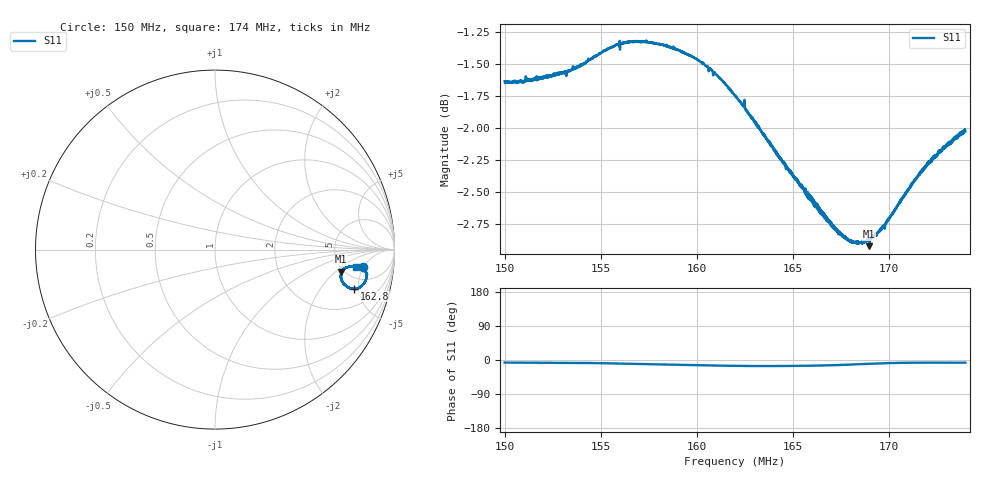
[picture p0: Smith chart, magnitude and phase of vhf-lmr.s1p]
! Calibrated averaged scanner-service zoom
# Hz S RI R 50
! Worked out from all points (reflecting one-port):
!   2001 points, 150 MHz to 174 MHz, reference 50 ohm
!   lowest |S11| = -2.9 dB at 169 MHz (marker M1), VSWR 5.99, Z = 238 - j119 ohm
!   phase of S11 starts at -7 deg and turns -0 deg over the sweep
!   S11 on the Smith chart (normalised r, x): 150 MHz: 7.71, -4.75; 162.8 MHz: 3.59, -4.43; 174 MHz: 6.75, -3.52
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1.5e8  0.8229 -0.0965
1.5096e8  0.8223 -0.101
1.53e8  0.828 -0.1111
1.5438e8  0.8366 -0.1166
1.5516e8  0.8421 -0.1268
1.56e8  0.8453 -0.1428
1.56528e8  0.8454 -0.1482
1.5732e8  0.8435 -0.1603
1.59e8  0.8318 -0.1854
1.60452e8  0.8153 -0.2044
1.60956e8  0.8079 -0.2102
1.62e8  0.7882 -0.2176
1.62756e8  0.7742 -0.2178
1.63932e8  0.7506 -0.2145
1.65e8  0.7326 -0.204
1.6596e8  0.7191 -0.1913
1.66692e8  0.7105 -0.1805
1.67292e8  0.7046 -0.1685
1.68e8  0.7012 -0.1517
1.6854e8  0.7034 -0.1363
1.68996e8  0.7033 -0.1228
1.69548e8  0.7149 -0.1119
1.69944e8  0.7225 -0.1053
1.70436e8  0.7339 -0.0986
1.71e8  0.7444 -0.0951
1.72104e8  0.7653 -0.0943
1.7292e8  0.7755 -0.096
1.74e8  0.7861 -0.097
